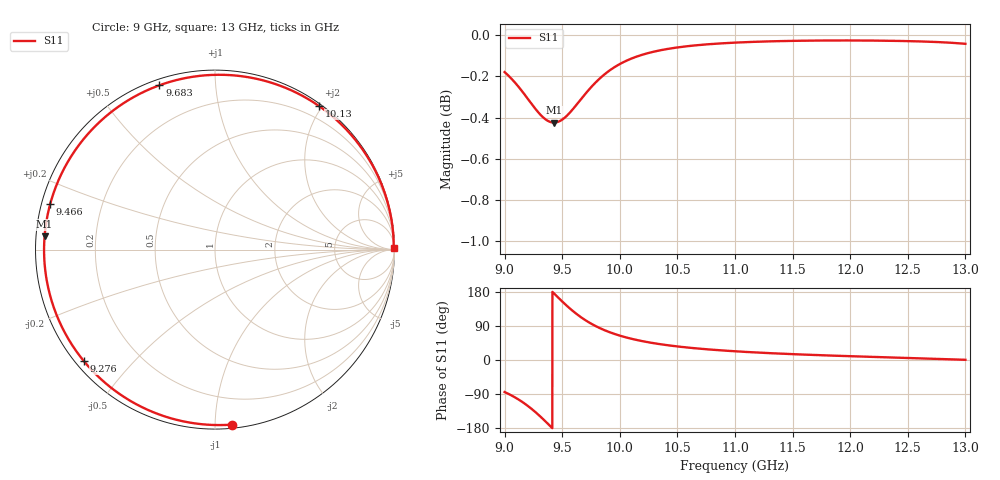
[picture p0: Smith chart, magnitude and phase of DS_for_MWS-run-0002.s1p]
! TOUCHSTONE file generated by CST DESIGN STUDIO
! Date and time: Tue Feb  4 17:03:13 2025
! Project name: C:\Work\MatlabApps\UnitCellOptimizationMatlab\CST\unitcell.cst
! Tree item: Tasks\Sweep1\SPara1\S-Parameters
! Header version: 2024
! Port assignment regex: !\s*Touchstone port\s*([0-9]+)\s*=\s*(CST MWS port|CST DES external port|CST DES block port)\s*(.+)\s* \(\"(.*)\"\)(\s*mode\s*([0-9]+))?.*
! Touchstone port assignment:
! Touchstone port 1 = CST DES external port 1 ("")
# GHz S MA R 50
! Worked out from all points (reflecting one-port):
!   4001 points, 9 GHz to 13 GHz, reference 50 ohm
!   lowest |S11| = -0.4 dB at 9.429 GHz (marker M1), VSWR 40.95, Z = 1.22 + j1.93 ohm
!   phase of S11 starts at -85 deg and turns -275 deg over the sweep
!   S11 on the Smith chart (normalised r, x): 9 GHz: 0.02, -1.10; 9.276 GHz: 0.02, -0.37; 9.466 GHz: 0.02, +0.14; 9.683 GHz: 0.03, +0.72; 10.13 GHz: 0.03, +1.95; 13 GHz: open
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9  0.9796 -84.5
9.083  0.9744 -97.4
9.152  0.9692 -110.4
9.215  0.9639 -124.3
9.276  0.959 -139.7
9.319  0.956 -151.6
9.357  0.954 -162.7
9.393  0.9527 -173.5
9.429  0.9523 175.6
9.466  0.9528 164.4
9.5  0.9539 154.4
9.546  0.9563 141.4
9.591  0.9594 129.7
9.636  0.9628 118.9
9.683  0.9664 108.7
9.754  0.9716 95.4
9.839  0.9769 82.4
9.917  0.9808 72.7
10  0.984 64.3
10.127  0.9877 54.2
10.295  0.9909 44.3
10.5  0.9932 35.8
10.723  0.9948 29.1
11  0.9959 23.0
11.5  0.9969 15.4
12  0.9971 10.0
12.5  0.9967 5.4
13  0.9952 0.5
